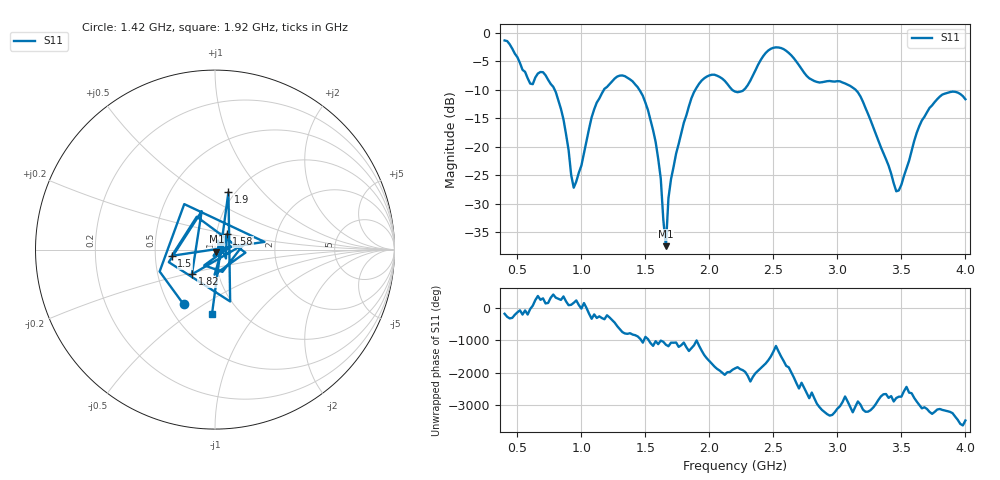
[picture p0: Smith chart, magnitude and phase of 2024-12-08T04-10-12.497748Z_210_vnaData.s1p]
!Created with skrf (http://scikit-rf.org).
# Hz S RI R 50.0
!freq ReS11 ImS11
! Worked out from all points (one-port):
!   181 points, 400 MHz to 4 GHz, reference 50 ohm
!   lowest |S11| = -37.4 dB at 1.66 GHz (marker M1), VSWR 1.03, Z = 50.7 - j1.14 ohm
!   |S11| at or under -10 dB: 790.7 MHz to 1.177 GHz (385.8 MHz wide, 39.2 % of centre); 1.452 GHz to 1.891 GHz (439.2 MHz wide, 26.3 % of centre); 3.141 GHz to end of sweep (the widest 3 of 4)
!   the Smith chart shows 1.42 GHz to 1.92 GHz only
!   S11 on the Smith chart (normalised r, x): 1.42 GHz: 0.59, -0.41; 1.5 GHz: 0.61, -0.05; 1.58 GHz: 1.12, +0.20; 1.82 GHz: 0.75, -0.21; 1.9 GHz: 0.93, +0.67; 1.92 GHz: 0.75, -0.61
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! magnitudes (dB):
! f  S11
! 400 MHz  -1.4
! 600 MHz  -8.9
! 720 MHz  -7.5
! 860 MHz  -15.2
! 940 MHz  -27.2
! 1.12 GHz  -12.3
! 1.3 GHz  -7.5
! 1.42 GHz  -9.1
! 1.5 GHz  -12.3
! 1.58 GHz  -19.2
! 1.62 GHz  -25.6
! 1.66 GHz  -37.4
! 1.68 GHz  -29.0
! 1.76 GHz  -19.5
! 1.82 GHz  -14.5
! 1.9 GHz  -9.6
! 1.92 GHz  -8.9
! 2.2 GHz  -10.3
! 2.48 GHz  -2.8
! 2.66 GHz  -4.5
! 2.82 GHz  -8.5
! 3.1 GHz  -9.3
! 3.2 GHz  -12.1
! 3.46 GHz  -27.8
! 3.56 GHz  -22.4
! 3.66 GHz  -15.4
! 3.78 GHz  -11.7
! 4 GHz  -11.7
